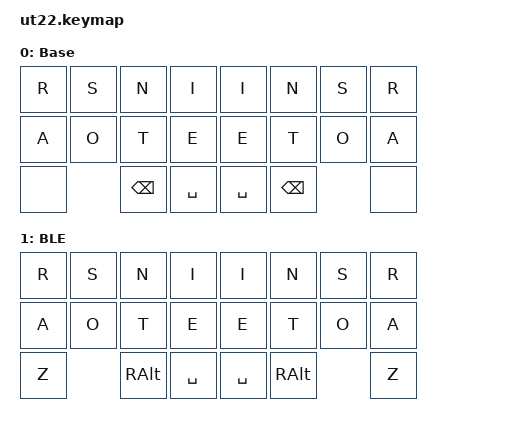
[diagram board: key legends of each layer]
/*
 * SPDX-License-Identifier: MIT
 */

#include <behaviors.dtsi>
#include <dt-bindings/zmk/keys.h>
// #include <dt-bindings/zmk/bt.h>
// #include <dt-bindings/zmk/outputs.h>


// LAYERS
// ====================================================
#define BASE    0
#define BLE     1


// Using layer taps on thumbs, having quick tap as well helps w/ repeating space/backspace
&lt { quick_tap_ms = <200>; };
// Sticky Layer Behavior - release sticky behavior after x ms
&sk { release-after-ms = <1800>; };

// TAIPO DEFINITIONS (use in conjunction with TAIPO COMBOS)
// ====================================================
// ZMK forces you to define combos in terms of HW key positions
/*
	.-----------------------------------------------------------.
	|  0  |  1  |  2  |  3  |           |  4  |  5  |  6  |  7  |
	|  8  |  9  |  10 |  11 |           |  12 |  13 |  14 |  15 |
	|  16 |-----|  17 |  18 |           |  19 |  20 |-----|  21 |
	'-----'     '-----------------------------------'     '-----'
*/
// {Top,Bottom}{Left,Right}{Index,Middle,Ring,Pinky}

// LEFT SIDE
#define TLI 3 // TOP
#define TLM 2 // TOP
#define TLR 1 // TOP
#define TLP 0 // TOP
#define BLI 11 // BOTTOM
#define BLM 10 // BOTTOM
#define BLR 9 // BOTTOM
#define BLP 8 // BOTTOM
#define LOT 18 // O-THUMB
#define LIT 17 // I-THUMB
#define LEP 16 // EXTRA PINKY

// RIGHT SIDE
#define TRI 4 // TOP
#define TRM 5 // TOP
#define TRR 6 // TOP
#define TRP 7 // TOP
#define BRI 12 // BOTTOM
#define BRM 13 // BOTTOM
#define BRR 14 // BOTTOM
#define BRP 15 // BOTTOM
#define ROT 19 // O-THUMB
#define RIT 20 // I-THUMB
#define REP 21 // EXTRA PINKY

// BEHAVIOR
// ====================================================

/{
	behaviors {
		// Enables holding the first mod-tap key
		// by performing a tap-release-hold sequence.
		// To use it: "&qt KEYCODE1 KEYCODE2"
		qt: quick_tap {
			compatible = "zmk,behavior-hold-tap";
			label = "QUICK_TAP";
			#binding-cells = <2>;
			flavor = "hold-preferred";
			tapping-term-ms = <200>;
			quick-tap-ms = <200>;
			bindings = <&kp>, <&kp>;
		};
	};


// COMBOS
// ====================================================
/*
	.-----------------------------------------------------------.
	|  0  |  1  |  2  |  3  |           |  4  |  5  |  6  |  7  |
	|  8  |  9  |  10 |  11 |           |  12 |  13 |  14 |  15 |
	|  16 |-----|  17 |  18 |           |  19 |  20 |-----|  21 |
	'-----'     '-----------------------------------'     '-----'
*/
// TAIPO COMBOS

	#define COMBO(NAME, BINDINGS, KEYPOS) \
	combo_##NAME { \
		timeout-ms = <75>; \
		bindings = <BINDINGS>; \
		key-positions = <KEYPOS>; \
	};

    combos {
        compatible = "zmk,combos";
		COMBO(1,&kp LS(E),BLI LIT)
		COMBO(2,&kp LS(E),BRI RIT)
		COMBO(3,&kp LS(T),BLM LIT)
		COMBO(4,&kp LS(T),BRM RIT)
		COMBO(5,&kp LS(O),BLR LIT)
		COMBO(6,&kp LS(O),BRR RIT)
		COMBO(7,&kp LS(A),BLP LIT)
		COMBO(8,&kp LS(A),BRP RIT)
		COMBO(9,&kp LPAR,BLI LOT)
		COMBO(10,&kp LPAR,BRI ROT)
		COMBO(11,&kp LBKT,BLM LOT)
		COMBO(12,&kp LBKT,BRM ROT)
		COMBO(13,&kp LBRC,BLR LOT)
		COMBO(14,&kp LBRC,BRR ROT)
		COMBO(15,&kp LT,BLP LOT)
		COMBO(16,&kp LT,BRP ROT)
		COMBO(17,&kp LS(I),LIT TLI)
		COMBO(18,&kp LS(I),RIT TRI)
		COMBO(19,&kp LS(N),LIT TLM)
		COMBO(20,&kp LS(N),RIT TRM)
		COMBO(21,&kp LS(S),LIT TLR)
		COMBO(22,&kp LS(S),RIT TRR)
		COMBO(23,&kp LS(R),LIT TLP)
		COMBO(24,&kp LS(R),RIT TRP)
		COMBO(25,&kp RPAR,LOT TLI)
		COMBO(26,&kp RPAR,ROT TRI)
		COMBO(27,&kp RBKT,LOT TLM)
		COMBO(28,&kp RBKT,ROT TRM)
		COMBO(29,&kp RBRC,LOT TLR)
		COMBO(30,&kp RBRC,ROT TRR)
		COMBO(31,&kp GT,LOT TLP)
		COMBO(32,&kp GT,ROT TRP)
		COMBO(33,&kp H,BLI BLM)
		COMBO(34,&kp H,BRI BRM)
		COMBO(35,&kp L,BLP BLR)
		COMBO(36,&kp L,BRP BRR)
		COMBO(37,&kp Y,TLI TLM)
		COMBO(38,&kp Y,TRI TRM)
		COMBO(39,&kp B,TLP TLR)
		COMBO(40,&kp B,TRP TRR)
		COMBO(41,&kp LS(H),BLI BLM LIT)
		COMBO(42,&kp LS(H),BRI BRM RIT)
		COMBO(43,&kp LS(L),BLP BLR LIT)
		COMBO(44,&kp LS(L),BRP BRR RIT)
		COMBO(45,&kp LS(Y),LIT TLI TLM)
		COMBO(46,&kp LS(Y),RIT TRI TRM)
		COMBO(47,&kp LS(B),LIT TLP TLR)
		COMBO(48,&kp LS(B),RIT TRP TRR)
		COMBO(49,&kp N0,BLI BLM LOT)
		COMBO(50,&kp N0,BRI BRM ROT)
		COMBO(51,&kp N4,BLP BLR LOT)
		COMBO(52,&kp N4,BRP BRR ROT)
		COMBO(53,&kp N5,LOT TLI TLM)
		COMBO(54,&kp N5,ROT TRI TRM)
		COMBO(55,&kp N9,LOT TLP TLR)
		COMBO(56,&kp N9,ROT TRP TRR)
		COMBO(57,&kp G,TLI TLP)
		COMBO(58,&kp G,TRI TRP)
		COMBO(59,&kp U,BLM BLR)
		COMBO(60,&kp U,BRM BRR)
		COMBO(61,&kp D,BLI BLP)
		COMBO(62,&kp D,BRI BRP)
		COMBO(63,&kp P,TLM TLR)
		COMBO(64,&kp P,TRM TRR)
		COMBO(65,&kp LS(G),LIT TLI TLP)
		COMBO(66,&kp LS(G),RIT TRI TRP)
		COMBO(67,&kp LS(U),BLM BLR LIT)
		COMBO(68,&kp LS(U),BRM BRR RIT)
		COMBO(69,&kp LS(D),BLI BLP LIT)
		COMBO(70,&kp LS(D),BRI BRP RIT)
		COMBO(71,&kp LS(P),LIT TLM TLR)
		COMBO(72,&kp LS(P),RIT TRM TRR)
		COMBO(73,&kp HASH,LOT TLI TLP)
		COMBO(74,&kp HASH,ROT TRI TRP)
		COMBO(75,&kp N2,BLM BLR LOT)
		COMBO(76,&kp N2,BRM BRR ROT)
		COMBO(77,&kp AT,BLI BLP LOT)
		COMBO(78,&kp AT,BRI BRP ROT)
		COMBO(79,&kp N7,LOT TLM TLR)
		COMBO(80,&kp N7,ROT TRM TRR)
		COMBO(81,&kp C,BLI BLR)
		COMBO(82,&kp C,BRI BRR)
		COMBO(83,&kp Q,BLM BLP)
		COMBO(84,&kp Q,BRM BRP)
		COMBO(85,&kp F,TLI TLR)
		COMBO(86,&kp F,TRI TRR)
		COMBO(87,&kp Z,TLM TLP)
		COMBO(88,&kp Z,TRM TRP)
		COMBO(89,&kp LS(C),BLI BLR LIT)
		COMBO(90,&kp LS(C),BRI BRR RIT)
		COMBO(91,&kp LS(Q),BLM BLP LIT)
		COMBO(92,&kp LS(Q),BRM BRP RIT)
		COMBO(93,&kp LS(F),LIT TLI TLR)
		COMBO(94,&kp LS(F),RIT TRI TRR)
		COMBO(95,&kp LS(Z),LIT TLM TLP)
		COMBO(96,&kp LS(Z),RIT TRM TRP)
		COMBO(97,&kp N1,BLI BLR LOT)
		COMBO(98,&kp N1,BRI BRR ROT)
		COMBO(99,&kp N3,BLM BLP LOT)
		COMBO(100,&kp N3,BRM BRP ROT)
		COMBO(101,&kp N6,LOT TLI TLR)
		COMBO(102,&kp N6,ROT TRI TRR)
		COMBO(103,&kp N8,LOT TLM TLP)
		COMBO(104,&kp N8,ROT TRM TRP)
		COMBO(105,&kp V,BLI TLR)
		COMBO(106,&kp V,BRI TRR)
		COMBO(107,&kp X,BLM TLP)
		COMBO(108,&kp X,BRM TRP)
		COMBO(109,&kp K,BLR TLI)
		COMBO(110,&kp K,BRR TRI)
		COMBO(111,&kp J,BLP TLM)
		COMBO(112,&kp J,BRP TRM)
		COMBO(113,&kp LS(V),BLI LIT TLR)
		COMBO(114,&kp LS(V),BRI RIT TRR)
		COMBO(115,&kp LS(X),BLM LIT TLP)
		COMBO(116,&kp LS(X),BRM RIT TRP)
		COMBO(117,&kp LS(K),BLR LIT TLI)
		COMBO(118,&kp LS(K),BRR RIT TRI)
		COMBO(119,&kp LS(J),BLP LIT TLM)
		COMBO(120,&kp LS(J),BRP RIT TRM)
		COMBO(121,&kp STAR,BLI LOT TLR)
		COMBO(122,&kp STAR,BRI ROT TRR)
		COMBO(123,&kp CARET,BLM LOT TLP)
		COMBO(124,&kp CARET,BRM ROT TRP)
		COMBO(125,&kp PLUS,BLR LOT TLI)
		COMBO(126,&kp PLUS,BRR ROT TRI)
		COMBO(127,&kp EQUAL,BLP LOT TLM)
		COMBO(128,&kp EQUAL,BRP ROT TRM)
		COMBO(129,&kp MINUS,BLR TLM)
		COMBO(130,&kp MINUS,BRR TRM)
		COMBO(131,&kp W,BLP TLI)
		COMBO(132,&kp W,BRP TRI)
		COMBO(133,&kp M,BLI TLP)
		COMBO(134,&kp M,BRI TRP)
		COMBO(135,&kp FSLH,BLM TLR)
		COMBO(136,&kp FSLH,BRM TRR)
		COMBO(137,&kp UNDER,BLR LIT TLM)
		COMBO(138,&kp UNDER,BRR RIT TRM)
		COMBO(139,&kp LS(W),BLP LIT TLI)
		COMBO(140,&kp LS(W),BRP RIT TRI)
		COMBO(141,&kp LS(M),BLI LIT TLP)
		COMBO(142,&kp LS(M),BRI RIT TRP)
		COMBO(143,&kp BSLH,BLM LIT TLR)
		COMBO(144,&kp BSLH,BRM RIT TRR)
		COMBO(145,&kp PRCNT,BLR LOT TLM)
		COMBO(146,&kp PRCNT,BRR ROT TRM)
		COMBO(147,&kp AMPS,BLP LOT TLI)
		COMBO(148,&kp AMPS,BRP ROT TRI)
		COMBO(149,&kp DLLR,BLI LOT TLP)
		COMBO(150,&kp DLLR,BRI ROT TRP)
		COMBO(151,&kp PIPE,BLM LOT TLR)
		COMBO(152,&kp PIPE,BRM ROT TRR)
		COMBO(153,&kp SQT,TLM TLP TLR)
		COMBO(154,&kp SQT,TRM TRP TRR)
		COMBO(155,&kp SEMI,BLM BLR BLP)
		COMBO(156,&kp SEMI,BRM BRR BRP)
		COMBO(157,&kp QMARK,BLM TLI)
		COMBO(158,&kp QMARK,BRM TRI)
		COMBO(159,&kp COMMA,BLI TLM)
		COMBO(160,&kp COMMA,BRI TRM)
		COMBO(161,&kp DQT,LIT TLM TLP TLR)
		COMBO(162,&kp DQT,RIT TRM TRP TRR)
		COMBO(163,&kp COLON,LIT BLM BLR BLP)
		COMBO(164,&kp COLON,RIT BRM BRR BRP)
		COMBO(165,&kp EXCL,BLM LIT TLI)
		COMBO(166,&kp EXCL,BRM RIT TRI)
		COMBO(167,&kp DOT,BLI LIT TLM)
		COMBO(168,&kp DOT,BRI RIT TRM)
		COMBO(169,&kp GRAVE,LOT TLM TLP TLR)
		COMBO(170,&kp GRAVE,ROT TRM TRP TRR)
		COMBO(171,&kp TILDE,BLI LOT TLM)
		COMBO(172,&kp TILDE,BRI ROT TRM)
		COMBO(173,&sk LEFT_GUI,BLP TLP)
		COMBO(174,&sk LEFT_GUI,BRP TRP)
		COMBO(175,&sk LEFT_ALT,BLR TLR)
		COMBO(176,&sk LEFT_ALT,BRR TRR)
		COMBO(177,&sk LEFT_CONTROL,BLM TLM)
		COMBO(178,&sk LEFT_CONTROL,BRM TRM)
		COMBO(179,&sk LEFT_SHIFT,BLI TLI)
		COMBO(180,&sk LEFT_SHIFT,BRI TRI)
		COMBO(181,&kp RIGHT,BLI TLI LIT)
		COMBO(182,&kp RIGHT,BRP TRP RIT)
		COMBO(183,&kp UP,BLM TLM LIT)
		COMBO(184,&kp UP,BRR TRR RIT)
		COMBO(185,&kp DOWN,BLR TLR LIT)
		COMBO(186,&kp DOWN,BRM TRM RIT)
		COMBO(187,&kp LEFT,BLP TLP LIT)
		COMBO(188,&kp LEFT,BRI TRI RIT)
		COMBO(189,&kp PG_UP,BLP TLP LOT)
		COMBO(190,&kp PG_UP,BRP TRP ROT)
		COMBO(191,&kp HOME,BLR TLR LOT)
		COMBO(192,&kp HOME,BRR TRR ROT)
		COMBO(193,&kp END,BLM TLM LOT)
		COMBO(194,&kp END,BRM TRM ROT)
		COMBO(195,&kp PG_DN,BLI TLI LOT)
		COMBO(196,&kp PG_DN,BRI TRI ROT)
		COMBO(197,&kp ENTER,BLI BLM BLR)
		COMBO(198,&kp ENTER,BRI BRM BRR)
		COMBO(199,&kp TAB,TLI TLM TLR)
		COMBO(200,&kp TAB,TRI TRM TRR)
		COMBO(201,&kp ESC,BLI BLM BLR LIT)
		COMBO(202,&kp ESC,BRI BRM BRR RIT)
		COMBO(203,&kp DEL,TLI TLM TLR LIT)
		COMBO(204,&kp DEL,TRI TRM TRR RIT)
		COMBO(205,&sk RALT,BLI BLM BLR LOT)
		COMBO(206,&sk RALT,BRI BRM BRR ROT)

    };

// KEYMAP
// ====================================================

/*  0 = Base
	.-----------------------------------------------------------.
	|  R  |  S  |  N  |  I  |           |  I  |  N  |  S  |  R  |
	|  A  |  O  |  T  |  E  |           |  E  |  T  |  O  |  A  |
	|     |-----| BKSP| SPC |           | SPC | BKSP|-----|     |
	'-----'     '-----------------------------------'     '-----'
*/
	keymap {
		compatible = "zmk,keymap";

		// LAYER: BASE 0
		default_layer {
			label = "Base";
			bindings = <
			&kp R       &kp S       &kp N       &kp I          &kp I       &kp N       &kp S       &kp R
			&kp A       &kp O       &kp T       &kp E          &kp E       &kp T       &kp O       &kp A
			&none                   &kp BKSP    &kp SPACE      &kp SPACE   &kp BKSP                &none
			>;
		};

// -----------------------------------------------------------------------------

/*  1 = Bluetooth
	.-----------------------------------------------------------.
	|  0  |  1  |  2  |  3  |           |  4  |  5  |  6  |  7  |
	|  8  |  9  |  10 |  11 |           |  12 |  13 |  14 |  15 |
	|  16 |-----|  17 |  18 |           |  19 |  20 |-----|  21 |
	'-----'     '-----------------------------------'     '-----'
*/
        // LAYER: BLE 1
		ble_layer {
			label = "BLE";
			bindings = <
			&kp R       &kp S       &kp N       &kp I          &kp I       &kp N       &kp S       &kp R
			&kp A       &kp O       &kp T       &kp E          &kp E       &kp T       &kp O       &kp A
			&kp Z                   &kp RALT    &kp SPACE      &kp SPACE   &kp RALT                &kp Z     
			>;
		};
// -----------------------------------------------------------------------------

// -----------------------------------------------------------------------------
    };
};
